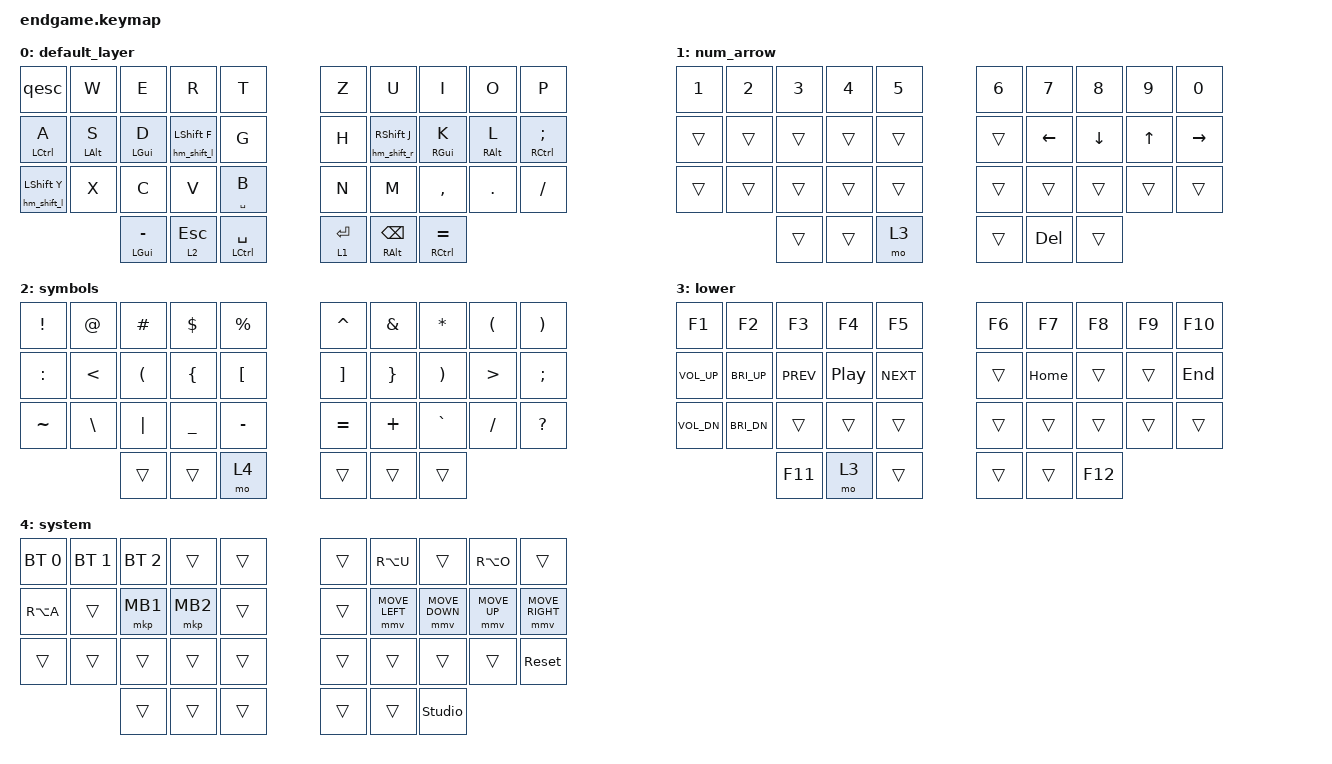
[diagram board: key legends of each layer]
#include <behaviors.dtsi>
#include <dt-bindings/zmk/keys.h>
#include <dt-bindings/zmk/bt.h>
#include <dt-bindings/zmk/pointing.h>

#include "includes/settings.dtsi"
#include "includes/combos.dtsi"
#include "includes/behaviors.dtsi"

/ {
    keymap {
        compatible = "zmk,keymap";

        default_layer {
            bindings = <
//    ┌────────────────────┬──────────────┬──────────────┬────────────────────┬──────────────┐   ┌──────────┬────────────────────┬──────────────┬──────────────┬──────────────┐
//    │       &qesc        │      W       │      E       │         R          │      T       │   │    Z     │         U          │      I       │      O       │      P       │
//    ├────────────────────┼──────────────┼──────────────┼────────────────────┼──────────────┤   ├──────────┼────────────────────┼──────────────┼──────────────┼──────────────┤
//    │    &hm_l lctl A    │ &hm_l lalt S │ &hm_l lgui D │ &hm_shift_l lsft F │      G       │   │    H     │ &hm_shift_r rsft J │ &hm_r rgui K │ &hm_r ralt L │ &hm_r rctl ; │
//    ├────────────────────┼──────────────┼──────────────┼────────────────────┼──────────────┤   ├──────────┼────────────────────┼──────────────┼──────────────┼──────────────┤
//    │ &hm_shift_l lsft Y │      X       │      C       │         V          │   mt spc B   │   │    N     │         M          │      ,       │      .       │      /       │
//    ├────────────────────┼──────────────┴──────────────┼────────────────────┼──────────────┤   ├──────────┼────────────────────┼──────────────┴──────────────┼──────────────┤
//    │     &hm lgui -     │                             │      lt 2 esc      │ &hm lctl spc │   │ lt 1 ent │   &hm ralt bspc    │                             │  &hm rctl =  │
//    └────────────────────┘                             └────────────────────┴──────────────┘   └──────────┴────────────────────┘                             └──────────────┘
  &qesc                 &kp W          &kp E              &kp R                 &kp T                 &kp Z         &kp U                 &kp I               &kp O               &kp P
  &hm_l LCTRL A         &hm_l LALT S   &hm_l LEFT_GUI D   &hm_shift_l LSHFT F   &kp G                 &kp H         &hm_shift_r RSHFT J   &hm_r RIGHT_GUI K   &hm_r RIGHT_ALT L   &hm_r RCTRL SEMICOLON
  &hm_shift_l LSHFT Y   &kp X          &kp C              &kp V                 &mt SPACE B           &kp N         &kp M                 &kp COMMA           &kp PERIOD          &kp SLASH
  &hm LEFT_GUI MINUS                                      &lt 2 ESC             &hm LCTRL SPACE       &lt 1 ENTER   &hm RALT BSPC                                                 &hm RCTRL EQUAL
            >;
        };

        num_arrow {
            bindings = <
//    ┌─────┬─────┬─────┬─────┬──────┐   ┌─────┬──────┬──────┬─────┬──────┐
//    │  1  │  2  │  3  │  4  │  5   │   │  6  │  7   │  8   │  9  │  0   │
//    ├─────┼─────┼─────┼─────┼──────┤   ├─────┼──────┼──────┼─────┼──────┤
//    │     │     │     │     │      │   │     │ left │ down │ up  │ rght │
//    ├─────┼─────┼─────┼─────┼──────┤   ├─────┼──────┼──────┼─────┼──────┤
//    │     │     │     │     │      │   │     │      │      │     │      │
//    ├─────┼─────┴─────┼─────┼──────┤   ├─────┼──────┼──────┴─────┼──────┤
//    │     │           │     │ mo 3 │   │     │ del  │            │      │
//    └─────┘           └─────┴──────┘   └─────┴──────┘            └──────┘
  &kp N1   &kp N2   &kp N3   &kp N4   &kp N5       &kp N6   &kp N7     &kp N8     &kp N9   &kp N0
  &trans   &trans   &trans   &trans   &trans       &trans   &kp LEFT   &kp DOWN   &kp UP   &kp RIGHT
  &trans   &trans   &trans   &trans   &trans       &trans   &trans     &trans     &trans   &trans
  &trans                     &trans   &mo 3        &trans   &kp DEL                        &trans
            >;
        };
      
      symbols {
      bindings = <
//    ┌─────┬───┬───┬─────┬──────┐   ┌─────┬─────┬───┬───┬─────┐
//    │  !  │ @ │ # │  $  │  %   │   │  ^  │  &  │ * │ ( │  )  │
//    ├─────┼───┼───┼─────┼──────┤   ├─────┼─────┼───┼───┼─────┤
//    │  :  │ < │ ( │  {  │  [   │   │  ]  │  }  │ ) │ > │  ;  │
//    ├─────┼───┼───┼─────┼──────┤   ├─────┼─────┼───┼───┼─────┤
//    │  ~  │ \ │ | │  _  │  -   │   │  =  │  +  │ ` │ / │  ?  │
//    ├─────┼───┴───┼─────┼──────┤   ├─────┼─────┼───┴───┼─────┤
//    │     │       │     │ mo 4 │   │     │     │       │     │
//    └─────┘       └─────┴──────┘   └─────┴─────┘       └─────┘
  &kp EXCL    &kp AT     &kp HASH   &kp DLLR    &kp PRCNT       &kp CARET   &kp AMPS   &kp STAR    &kp LPAR    &kp RPAR
  &kp COLON   &kp LT     &kp LPAR   &kp LBRC    &kp LBKT        &kp RBKT    &kp RBRC   &kp RPAR    &kp GT      &kp SEMI
  &kp TILDE   &kp BSLH   &kp PIPE   &kp UNDER   &kp MINUS       &kp EQUAL   &kp PLUS   &kp GRAVE   &kp SLASH   &kp QMARK
  &trans                            &trans      &mo 4           &trans      &trans                             &trans
    >;
    };

        lower {
            bindings = <
//    ┌──────┬──────┬──────┬──────┬──────┐   ┌─────┬──────┬─────┬─────┬─────┐
//    │  f1  │  f2  │  f3  │  f4  │  f5  │   │ f6  │  f7  │ f8  │ f9  │ f10 │
//    ├──────┼──────┼──────┼──────┼──────┤   ├─────┼──────┼─────┼─────┼─────┤
//    │ volu │ bri+ │ prev │ play │ next │   │     │ home │     │     │ end │
//    ├──────┼──────┼──────┼──────┼──────┤   ├─────┼──────┼─────┼─────┼─────┤
//    │ vold │ bri- │      │      │      │   │     │      │     │     │     │
//    ├──────┼──────┴──────┼──────┼──────┤   ├─────┼──────┼─────┴─────┼─────┤
//    │ f11  │             │ mo 3 │      │   │     │      │           │ f12 │
//    └──────┘             └──────┴──────┘   └─────┴──────┘           └─────┘
  &kp F1            &kp F2         &kp F3       &kp F4     &kp F5           &kp F6   &kp F7     &kp F8   &kp F9   &kp F10
  &kp C_VOLUME_UP   &kp C_BRI_UP   &kp C_PREV   &kp C_PP   &kp C_NEXT       &trans   &kp HOME   &trans   &trans   &kp END
  &kp C_VOL_DN      &kp C_BRI_DN   &trans       &trans     &trans           &trans   &trans     &trans   &trans   &trans
  &kp F11                                       &mo 3      &trans           &trans   &trans                       &kp F12
            >;
        };
        system {
            bindings = <
//    ┌──────────┬──────────┬──────────┬──────┬─────┐   ┌─────┬────────────────┬────────────────┬──────────────┬────────────────┐
//    │ bt_sel 0 │ bt_sel 1 │ bt_sel 2 │      │     │   │     │    ralt(U)     │                │   ralt(O)    │                │
//    ├──────────┼──────────┼──────────┼──────┼─────┤   ├─────┼────────────────┼────────────────┼──────────────┼────────────────┤
//    │ ralt(A)  │          │   lclk   │ rclk │     │   │     │ &mmv MOVE_left │ &mmv MOVE_down │ &mmv MOVE_up │ &mmv MOVE_rght │
//    ├──────────┼──────────┼──────────┼──────┼─────┤   ├─────┼────────────────┼────────────────┼──────────────┼────────────────┤
//    │          │          │          │      │     │   │     │                │                │              │   &sys_reset   │
//    ├──────────┼──────────┴──────────┼──────┼─────┤   ├─────┼────────────────┼────────────────┴──────────────┼────────────────┤
//    │          │                     │      │     │   │     │                │                               │ &studio_unlock │
//    └──────────┘                     └──────┴─────┘   └─────┴────────────────┘                               └────────────────┘
  &bt BT_SEL 0   &bt BT_SEL 1   &bt BT_SEL 2   &trans     &trans       &trans   &kp RA(U)        &trans           &kp RA(O)      &trans
  &kp RA(A)      &trans         &mkp MB1       &mkp MB2   &trans       &trans   &mmv MOVE_LEFT   &mmv MOVE_DOWN   &mmv MOVE_UP   &mmv MOVE_RIGHT
  &trans         &trans         &trans         &trans     &trans       &trans   &trans           &trans           &trans         &sys_reset
  &trans                                       &trans     &trans       &trans   &trans                                           &studio_unlock
            >;
        };
    };
};
